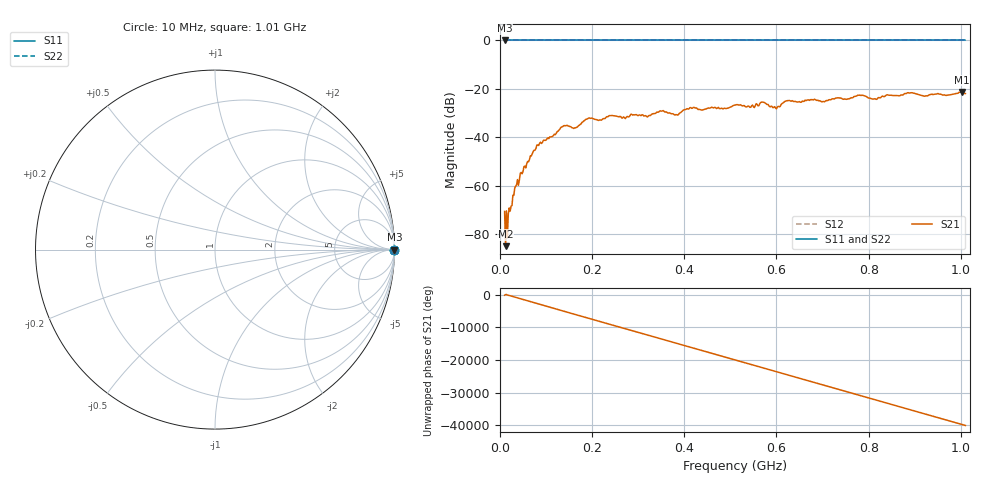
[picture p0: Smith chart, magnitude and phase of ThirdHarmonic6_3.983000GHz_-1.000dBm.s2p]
! 8/17/2025 2:11:32 PM
! C:\ANRITSUVNA\TEMP\TEMP.S2P
! CHANNEL.1
! TR.MEASUREMENT
! RAW.DATA
! RF.CORRECTION.OFF
! AVERAGING.OFF
! IF.BANDWIDTH: 5KHZ
! SWEEPTYPE:  FREQ.SWEEP(Linear)
! Reference Plane Port Info
! PORT:  PORT1  PORT2
! DISTANCE:  0  m  0  m
! TIME:  0  s  0  s
! PHASE.OFFSET:  0  deg.  0  deg.
! LOSS:  0  dB  0  dB
! REF.LOSS:  0  dB  0  dB
! REF.FREQ:  0  Hz  0  Hz
! Power Info
! POWER:  -20  dBm  -20  dBm
! EFF.POWER:  -20  dBm  -20  dBm
! SOURCE.ATTEN:  0  dB  0  dB
! TEST.ATTEN:  0  dB  0  dB
# GHZ S RI R 50.0
! FREQ.GHZ  S11RE  S11IM  S21RE  S21IM  S12RE  S12IM  S22RE  S22IM
!; PortSelection: Port_12
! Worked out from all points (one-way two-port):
!   501 points, 10 MHz to 1.01 GHz, reference 50 ohm
!   highest |S21| = -21.24 dB at 1.002 GHz (marker M1); lowest = -84.9 dB at 12 MHz (marker M2)
!   lowest |S11| = 0.0 dB at 10 MHz (marker M3)
!   |S11| at or under -10 dB: nowhere
!   |S22| runs from 0.0 to 0.0 dB; largest |S21 - S12| = 1.1
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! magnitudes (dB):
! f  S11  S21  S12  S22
! 10 MHz  0.0  -70.6  0.0  0.0
! 12 MHz  0.0  -84.9  0.0  0.0
! 16 MHz  0.0  -81.6  0.0  0.0
! 34 MHz  0.0  -60.2  0.0  0.0
! 48 MHz  0.0  -55.1  0.0  0.0
! 84 MHz  0.0  -43.4  0.0  0.0
! 136 MHz  0.0  -35.6  0.0  0.0
! 164 MHz  0.0  -36.1  0.0  0.0
! 178 MHz  0.0  -33.8  0.0  0.0
! 194 MHz  0.0  -32.0  0.0  0.0
! 322 MHz  0.0  -31.2  0.0  0.0
! 344 MHz  0.0  -29.6  0.0  0.0
! 382 MHz  0.0  -30.6  0.0  0.0
! 416 MHz  0.0  -28.0  0.0  0.0
! 510 MHz  0.0  -26.7  0.0  0.0
! 570 MHz  0.0  -25.4  0.0  0.0
! 596 MHz  0.0  -27.3  0.0  0.0
! 624 MHz  0.0  -24.8  0.0  0.0
! 678 MHz  0.0  -24.4  0.0  0.0
! 844 MHz  0.0  -22.6  0.0  0.0
! 1.002 GHz  0.0  -21.2  0.0  0.0
! 1.01 GHz  0.0  -21.9  0.0  0.0
